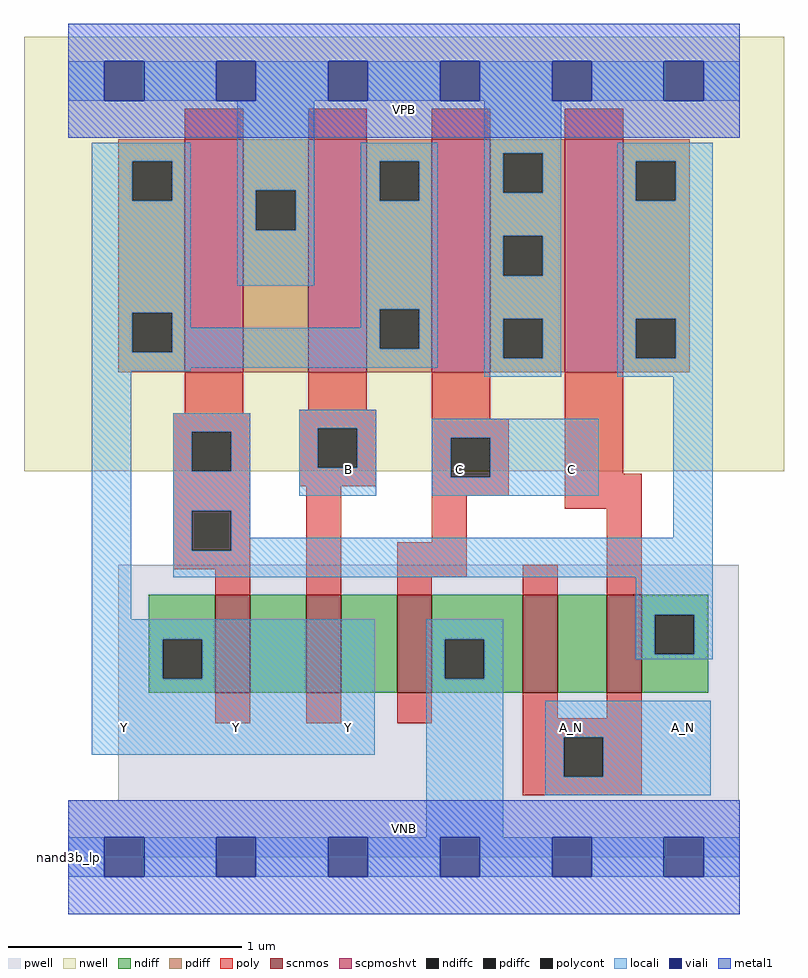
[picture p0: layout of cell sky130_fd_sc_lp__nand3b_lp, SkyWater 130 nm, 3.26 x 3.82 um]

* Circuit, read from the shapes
.subckt sky130_fd_sc_lp__nand3b_lp A_N B C VGND VNB VPB VPWR Y
XM1 n1 n2 Y VNB sky130_fd_pr__nfet_01v8 w=0.42 l=0.15
XM2 n3 B n1 VNB sky130_fd_pr__nfet_01v8 w=0.42 l=0.15
XM3 VGND C n3 VNB sky130_fd_pr__nfet_01v8 w=0.42 l=0.15
XM4 n4 A_N VGND VNB sky130_fd_pr__nfet_01v8 w=0.42 l=0.15
XM5 n2 A_N n4 VNB sky130_fd_pr__nfet_01v8 w=0.42 l=0.15
XM6 VPWR n2 Y VPB sky130_fd_pr__pfet_01v8_hvt w=1 l=0.25
XM7 Y B VPWR VPB sky130_fd_pr__pfet_01v8_hvt w=1 l=0.25
XM8 VPWR C Y VPB sky130_fd_pr__pfet_01v8_hvt w=1 l=0.25
XM9 n2 A_N VPWR VPB sky130_fd_pr__pfet_01v8_hvt w=1 l=0.25
.ends

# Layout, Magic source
magic
tech sky130A
magscale 1 2
<< nwell >>
rect -38 331 614 704
<< pwell >>
rect 43 49 575 251
rect 0 0 576 49
<< scnmos >>
rect 126 141 156 225
rect 204 141 234 225
rect 282 141 312 225
rect 390 141 420 225
rect 462 141 492 225
<< scpmoshvt >>
rect 100 416 150 616
rect 206 416 256 616
rect 312 416 362 616
rect 426 416 476 616
<< ndiff >>
rect 69 187 126 225
rect 69 153 81 187
rect 115 153 126 187
rect 69 141 126 153
rect 156 141 204 225
rect 234 141 282 225
rect 312 187 390 225
rect 312 153 323 187
rect 357 153 390 187
rect 312 141 390 153
rect 420 141 462 225
rect 492 208 549 225
rect 492 174 503 208
rect 537 174 549 208
rect 492 141 549 174
<< pdiff >>
rect 43 597 100 616
rect 43 563 55 597
rect 89 563 100 597
rect 43 467 100 563
rect 43 433 55 467
rect 89 433 100 467
rect 43 416 100 433
rect 150 572 206 616
rect 150 538 161 572
rect 195 538 206 572
rect 150 416 206 538
rect 256 597 312 616
rect 256 563 267 597
rect 301 563 312 597
rect 256 470 312 563
rect 256 436 267 470
rect 301 436 312 470
rect 256 416 312 436
rect 362 604 426 616
rect 362 570 373 604
rect 407 570 426 604
rect 362 533 426 570
rect 362 499 373 533
rect 407 499 426 533
rect 362 462 426 499
rect 362 428 373 462
rect 407 428 426 462
rect 362 416 426 428
rect 476 597 533 616
rect 476 563 487 597
rect 521 563 533 597
rect 476 462 533 563
rect 476 428 487 462
rect 521 428 533 462
rect 476 416 533 428
<< ndiffc >>
rect 81 153 115 187
rect 323 153 357 187
rect 503 174 537 208
<< pdiffc >>
rect 55 563 89 597
rect 55 433 89 467
rect 161 538 195 572
rect 267 563 301 597
rect 267 436 301 470
rect 373 570 407 604
rect 373 499 407 533
rect 373 428 407 462
rect 487 563 521 597
rect 487 428 521 462
<< poly >>
rect 100 616 150 642
rect 206 616 256 642
rect 312 616 362 642
rect 426 616 476 642
rect 100 381 150 416
rect 206 384 256 416
rect 90 365 156 381
rect 90 331 106 365
rect 140 331 156 365
rect 90 297 156 331
rect 198 368 264 384
rect 198 334 214 368
rect 248 334 264 368
rect 198 318 264 334
rect 312 376 362 416
rect 312 360 378 376
rect 312 326 328 360
rect 362 326 378 360
rect 90 263 106 297
rect 140 263 156 297
rect 90 247 156 263
rect 126 225 156 247
rect 204 225 234 318
rect 312 310 378 326
rect 426 329 476 416
rect 312 270 342 310
rect 426 299 492 329
rect 282 240 342 270
rect 282 225 312 240
rect 390 225 420 251
rect 462 225 492 299
rect 126 115 156 141
rect 204 115 234 141
rect 282 115 312 141
rect 390 119 420 141
rect 462 119 492 141
rect 390 103 492 119
rect 390 69 425 103
rect 459 69 492 103
rect 390 53 492 69
<< polycont >>
rect 106 331 140 365
rect 214 334 248 368
rect 328 326 362 360
rect 106 263 140 297
rect 425 69 459 103
<< locali >>
rect 0 649 31 683
rect 65 649 127 683
rect 161 649 223 683
rect 257 649 319 683
rect 353 649 415 683
rect 449 649 511 683
rect 545 649 576 683
rect 20 597 105 613
rect 20 563 55 597
rect 89 563 105 597
rect 20 467 105 563
rect 145 572 211 649
rect 145 538 161 572
rect 195 538 211 572
rect 145 490 211 538
rect 251 597 317 613
rect 251 563 267 597
rect 301 563 317 597
rect 20 433 55 467
rect 89 454 105 467
rect 251 470 317 563
rect 251 454 267 470
rect 89 436 267 454
rect 301 436 317 470
rect 89 433 317 436
rect 20 420 317 433
rect 357 604 423 649
rect 357 570 373 604
rect 407 570 423 604
rect 357 533 423 570
rect 357 499 373 533
rect 407 499 423 533
rect 357 462 423 499
rect 357 428 373 462
rect 407 428 423 462
rect 20 417 105 420
rect 20 204 54 417
rect 357 412 423 428
rect 471 597 553 613
rect 471 563 487 597
rect 521 563 553 597
rect 471 462 553 563
rect 471 428 487 462
rect 521 428 553 462
rect 471 412 553 428
rect 90 365 156 381
rect 90 331 106 365
rect 140 331 156 365
rect 90 297 156 331
rect 198 368 264 384
rect 198 334 214 368
rect 248 334 264 368
rect 198 310 264 334
rect 312 360 455 376
rect 312 326 328 360
rect 362 326 455 360
rect 312 310 455 326
rect 90 263 106 297
rect 140 274 156 297
rect 519 274 553 412
rect 140 263 553 274
rect 90 240 553 263
rect 487 208 553 240
rect 20 187 263 204
rect 20 153 81 187
rect 115 153 263 187
rect 20 88 263 153
rect 307 187 373 204
rect 307 153 323 187
rect 357 153 373 187
rect 487 174 503 208
rect 537 174 553 208
rect 487 170 553 174
rect 307 17 373 153
rect 409 103 551 134
rect 409 69 425 103
rect 459 69 551 103
rect 409 53 551 69
rect 0 -17 31 17
rect 65 -17 127 17
rect 161 -17 223 17
rect 257 -17 319 17
rect 353 -17 415 17
rect 449 -17 511 17
rect 545 -17 576 17
<< viali >>
rect 31 649 65 683
rect 127 649 161 683
rect 223 649 257 683
rect 319 649 353 683
rect 415 649 449 683
rect 511 649 545 683
rect 31 -17 65 17
rect 127 -17 161 17
rect 223 -17 257 17
rect 319 -17 353 17
rect 415 -17 449 17
rect 511 -17 545 17
<< metal1 >>
rect 0 683 576 715
rect 0 649 31 683
rect 65 649 127 683
rect 161 649 223 683
rect 257 649 319 683
rect 353 649 415 683
rect 449 649 511 683
rect 545 649 576 683
rect 0 617 576 649
rect 0 17 576 49
rect 0 -17 31 17
rect 65 -17 127 17
rect 161 -17 223 17
rect 257 -17 319 17
rect 353 -17 415 17
rect 449 -17 511 17
rect 545 -17 576 17
rect 0 -49 576 -17
<< labels >>
flabel pwell s 0 0 576 49 0 FreeSans 200 0 0 0 VNB
port 5 nsew ground bidirectional
flabel nwell s 0 617 576 666 0 FreeSans 200 0 0 0 VPB
port 6 nsew power bidirectional
rlabel comment s 0 0 0 0 4 nand3b_lp
flabel metal1 s 0 617 576 666 0 FreeSans 340 0 0 0 VPWR
port 7 nsew power bidirectional
flabel metal1 s 0 0 576 49 0 FreeSans 340 0 0 0 VGND
port 4 nsew ground bidirectional
flabel locali s 415 94 449 128 0 FreeSans 340 0 0 0 A_N
port 1 nsew signal input
flabel locali s 511 94 545 128 0 FreeSans 340 0 0 0 A_N
port 1 nsew signal input
flabel locali s 319 316 353 350 0 FreeSans 340 0 0 0 C
port 3 nsew signal input
flabel locali s 415 316 449 350 0 FreeSans 340 0 0 0 C
port 3 nsew signal input
flabel locali s 223 316 257 350 0 FreeSans 340 0 0 0 B
port 2 nsew signal input
flabel locali s 31 94 65 128 0 FreeSans 340 0 0 0 Y
port 8 nsew signal output
flabel locali s 127 94 161 128 0 FreeSans 340 0 0 0 Y
port 8 nsew signal output
flabel locali s 223 94 257 128 0 FreeSans 340 0 0 0 Y
port 8 nsew signal output
<< properties >>
string LEFsite unit
string LEFclass CORE
string FIXED_BBOX 0 0 576 666
string GDS_FILE $PDKPATH/libs.ref/sky130_fd_sc_lp/gds/sky130_fd_sc_lp.gds
string LEFsymmetry X Y R90
string GDS_END 3636650
string GDS_START 3631014
<< end >>
